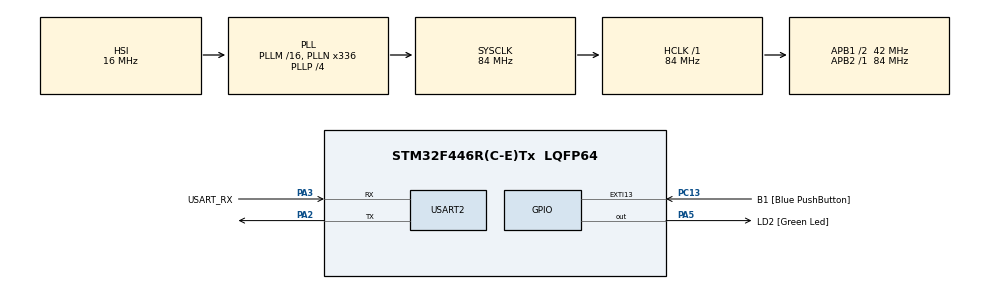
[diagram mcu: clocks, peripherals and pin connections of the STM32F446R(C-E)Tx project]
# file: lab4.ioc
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Mcu.Family=STM32F4
Mcu.Name=STM32F446R(C-E)Tx
Mcu.Package=LQFP64
NVIC.PriorityGroup=NVIC_PRIORITYGROUP_0
NVIC.USART2_IRQn=true\:0\:0\:false\:false\:true\:true\:true\:true
PA13.GPIO_Label=TMS
PA13.Signal=SYS_JTMS-SWDIO
PA14.GPIO_Label=TCK
PA14.Signal=SYS_JTCK-SWCLK
PA2.Mode=Asynchronous
PA2.Signal=USART2_TX
PA3.GPIO_Label=USART_RX
PA3.Mode=Asynchronous
PA3.Signal=USART2_RX
PA5.GPIO_Label=LD2 [Green Led]
PA5.Signal=GPIO_Output
PB3.GPIO_Label=SWO
PB3.Signal=SYS_JTDO-SWO
PC13.GPIO_Label=B1 [Blue PushButton]
PC13.GPIO_ModeDefaultEXTI=GPIO_MODE_IT_FALLING
PC13.Signal=GPXTI13
PC14-OSC32_IN.Signal=RCC_OSC32_IN
PC15-OSC32_OUT.Signal=RCC_OSC32_OUT
PH0-OSC_IN.Signal=RCC_OSC_IN
PH1-OSC_OUT.Signal=RCC_OSC_OUT
ProjectManager.HeapSize=0x200
ProjectManager.StackSize=0x400
ProjectManager.TargetToolchain=STM32CubeIDE
RCC.AHBFreq_Value=84000000
RCC.APB1CLKDivider=RCC_HCLK_DIV2
RCC.APB1Freq_Value=42000000
RCC.APB1TimFreq_Value=84000000
RCC.APB2Freq_Value=84000000
RCC.APB2TimFreq_Value=84000000
RCC.CortexFreq_Value=84000000
RCC.FLatency-AdvancedSettings=FLASH_LATENCY_2
RCC.HCLKFreq_Value=84000000
RCC.HSE_VALUE=8000000
RCC.HSI_VALUE=16000000
RCC.LSE_VALUE=32768
RCC.PLLN=336
RCC.PLLP=RCC_PLLP_DIV4
RCC.SYSCLKFreq_VALUE=84000000
RCC.SYSCLKSource=RCC_SYSCLKSOURCE_PLLCLK
RCC.USBFreq_Value=168000000
RCC.VCOOutputFreq_Value=336000000
USART2.VirtualMode=VM_ASYNC
board=NUCLEO-F446RE

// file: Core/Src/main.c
/* USER CODE BEGIN Header */
/**
  ******************************************************************************
  * @file           : main.c
  * @brief          : Main program body
  ******************************************************************************
  * @attention
  *
  * Copyright (c) 2026 STMicroelectronics.
  * All rights reserved.
  *
  * This software is licensed under terms that can be found in the LICENSE file
  * in the root directory of this software component.
  * If no LICENSE file comes with this software, it is provided AS-IS.
  *
  ******************************************************************************
  */
/* USER CODE END Header */
#include "main.h"

UART_HandleTypeDef huart2;

/* USER CODE BEGIN PV */
#define BUF_SIZE 128

volatile char ring[BUF_SIZE];
volatile uint16_t head = 0;
volatile uint16_t tail = 0;
volatile uint8_t lineReady = 0;
/* USER CODE END PV */

void SystemClock_Config(void);
static void MX_GPIO_Init(void);
static void MX_USART2_UART_Init(void);

int main(void)
{

  /* MCU Configuration--------------------------------------------------------*/

  /* Reset of all peripherals, Initializes the Flash interface and the Systick. */
  HAL_Init();

  /* Configure the system clock */
  SystemClock_Config();

  /* Initialize all configured peripherals */
  MX_GPIO_Init();
  MX_USART2_UART_Init();

  /* Infinite loop */
  while (1)
  {

    /* USER CODE BEGIN 3 */
	  if(lineReady)
	  {
	      lineReady = 0;

	      char line[BUF_SIZE];
	      uint16_t i = 0;

	      while(tail != head)
	      {
	          line[i++] = ring[tail];
	          tail = (tail + 1) % BUF_SIZE;
	      }

	      line[i] = '\0';

	      char *msg = "Echo: ";

	      while(*msg)
	      {
	          while(!(USART2->SR & USART_SR_TXE));
	          USART2->DR = *msg++;
	      }

	      for(uint16_t j=0;j<i;j++)
	      {
	          while(!(USART2->SR & USART_SR_TXE));
	          USART2->DR = line[j];
	      }

	      while(!(USART2->SR & USART_SR_TXE));
	      USART2->DR = '\r';

	      while(!(USART2->SR & USART_SR_TXE));
	      USART2->DR = '\n';
	  }
  }
  /* USER CODE END 3 */
}

void SystemClock_Config(void)
{
  RCC_OscInitTypeDef RCC_OscInitStruct = {0};
  RCC_ClkInitTypeDef RCC_ClkInitStruct = {0};

  /** Configure the main internal regulator output voltage
  */
  __HAL_RCC_PWR_CLK_ENABLE();
  __HAL_PWR_VOLTAGESCALING_CONFIG(PWR_REGULATOR_VOLTAGE_SCALE3);

  /** Initializes the RCC Oscillators according to the specified parameters
  * in the RCC_OscInitTypeDef structure.
  */
  RCC_OscInitStruct.OscillatorType = RCC_OSCILLATORTYPE_HSI;
  RCC_OscInitStruct.HSIState = RCC_HSI_ON;
  RCC_OscInitStruct.HSICalibrationValue = RCC_HSICALIBRATION_DEFAULT;
  RCC_OscInitStruct.PLL.PLLState = RCC_PLL_ON;
  RCC_OscInitStruct.PLL.PLLSource = RCC_PLLSOURCE_HSI;
  RCC_OscInitStruct.PLL.PLLM = 16;
  RCC_OscInitStruct.PLL.PLLN = 336;
  RCC_OscInitStruct.PLL.PLLP = RCC_PLLP_DIV4;
  RCC_OscInitStruct.PLL.PLLQ = 2;
  RCC_OscInitStruct.PLL.PLLR = 2;
  if (HAL_RCC_OscConfig(&RCC_OscInitStruct) != HAL_OK)
  {
    Error_Handler();
  }

  /** Initializes the CPU, AHB and APB buses clocks
  */
  RCC_ClkInitStruct.ClockType = RCC_CLOCKTYPE_HCLK|RCC_CLOCKTYPE_SYSCLK
                              |RCC_CLOCKTYPE_PCLK1|RCC_CLOCKTYPE_PCLK2;
  RCC_ClkInitStruct.SYSCLKSource = RCC_SYSCLKSOURCE_PLLCLK;
  RCC_ClkInitStruct.AHBCLKDivider = RCC_SYSCLK_DIV1;
  RCC_ClkInitStruct.APB1CLKDivider = RCC_HCLK_DIV2;
  RCC_ClkInitStruct.APB2CLKDivider = RCC_HCLK_DIV1;

  if (HAL_RCC_ClockConfig(&RCC_ClkInitStruct, FLASH_LATENCY_2) != HAL_OK)
  {
    Error_Handler();
  }
}

static void MX_USART2_UART_Init(void)
{

  huart2.Instance = USART2;
  huart2.Init.BaudRate = 115200;
  huart2.Init.WordLength = UART_WORDLENGTH_8B;
  huart2.Init.StopBits = UART_STOPBITS_1;
  huart2.Init.Parity = UART_PARITY_NONE;
  huart2.Init.Mode = UART_MODE_TX_RX;
  huart2.Init.HwFlowCtl = UART_HWCONTROL_NONE;
  huart2.Init.OverSampling = UART_OVERSAMPLING_16;
  if (HAL_UART_Init(&huart2) != HAL_OK)
  {
    Error_Handler();
  }
  /* USER CODE BEGIN USART2_Init 2 */
  __HAL_UART_ENABLE_IT(&huart2, UART_IT_RXNE);

  /* USER CODE END USART2_Init 2 */

}

static void MX_GPIO_Init(void)
{
  GPIO_InitTypeDef GPIO_InitStruct = {0};

  /* GPIO Ports Clock Enable */
  __HAL_RCC_GPIOC_CLK_ENABLE();
  __HAL_RCC_GPIOH_CLK_ENABLE();
  __HAL_RCC_GPIOA_CLK_ENABLE();
  __HAL_RCC_GPIOB_CLK_ENABLE();

  /*Configure GPIO pin Output Level */
  HAL_GPIO_WritePin(LD2_GPIO_Port, LD2_Pin, GPIO_PIN_RESET);

  /*Configure GPIO pin : B1_Pin */
  GPIO_InitStruct.Pin = B1_Pin;
  GPIO_InitStruct.Mode = GPIO_MODE_IT_FALLING;
  GPIO_InitStruct.Pull = GPIO_NOPULL;
  HAL_GPIO_Init(B1_GPIO_Port, &GPIO_InitStruct);

  /*Configure GPIO pin : LD2_Pin */
  GPIO_InitStruct.Pin = LD2_Pin;
  GPIO_InitStruct.Mode = GPIO_MODE_OUTPUT_PP;
  GPIO_InitStruct.Pull = GPIO_NOPULL;
  GPIO_InitStruct.Speed = GPIO_SPEED_FREQ_LOW;
  HAL_GPIO_Init(LD2_GPIO_Port, &GPIO_InitStruct);

}

void Error_Handler(void)
{
  __disable_irq();
  while (1)
  {
  }
}
